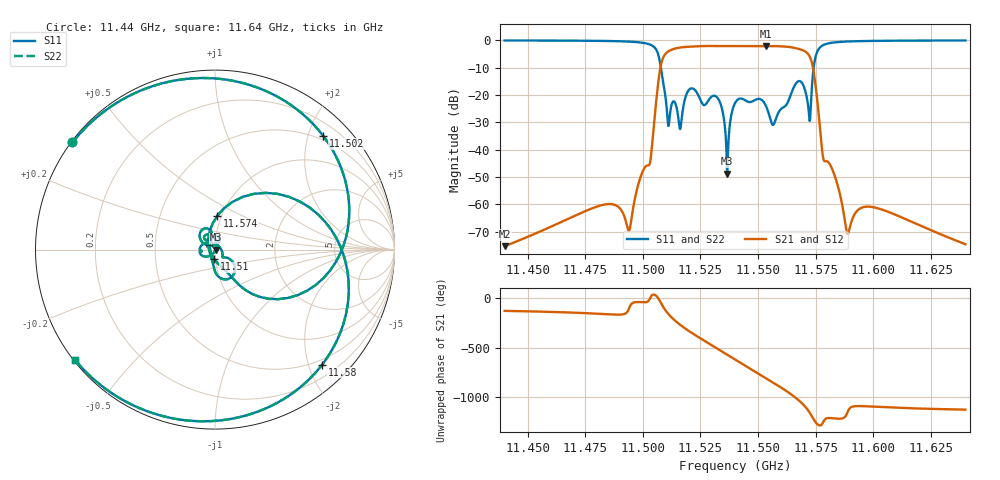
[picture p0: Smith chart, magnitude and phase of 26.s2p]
! This file was generated by CST Filter Designer 3D
! Date:  07.11.2025 16:01:26
# MHZ S RI R 50
!  Frequency  Re(S11)  Im(S11)  Re(S21)  Im(S21)  Re(S12)  Im(S12)  Re(S22)  Im(S22)
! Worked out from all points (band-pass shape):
!   1001 points, 11.44 GHz to 11.64 GHz, reference 50 ohm
!   highest |S21| = -2.08 dB at 11.553 GHz (marker M1); lowest = -75.4 dB at 11.44 GHz (marker M2)
!   |S21| within 3 dB of the highest: 11.51 GHz to 11.572 GHz (62.06 MHz wide, 0.538 % of centre)
!   lowest |S11| = -48.8 dB at 11.537 GHz (marker M3), VSWR 1.01, Z = 50.4 - j0.0962 ohm
!   |S11| at or under -10 dB: 11.508 GHz to 11.574 GHz (66.32 MHz wide, 0.575 % of centre)
!   |S22| runs from -48.8 to -0.1 dB; largest |S21 - S12| = 0
!   S11 on the Smith chart (normalised r, x): 11.44 GHz: 0.00, +0.33; 11.502 GHz: 0.42, +2.27; 11.51 GHz: 0.99, -0.11; 11.574 GHz: 0.96, +0.37; 11.58 GHz: 0.41, -2.24; 11.64 GHz: 0.00, -0.35
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11440  -0.7942 0.5967  -0.000107 -0.000133  -0.000107 -0.000133  -0.7942 0.5967
11473.4  -0.5175 0.8355  -0.000605 -0.000348  -0.000605 -0.000348  -0.5175 0.8355
11494  0.0918 0.942  -8.25e-05 -0.000316  -8.25e-05 -0.000316  0.0918 0.942
11501.6  0.6032 0.6331  0.00392 -0.0032  0.00392 -0.0032  0.6032 0.6331
11506.8  0.4627 -0.2529  0.1829 -0.0164  0.1829 -0.0164  0.4627 -0.2529
11510.4  -0.00336 -0.0538  -0.4679 -0.3709  -0.4679 -0.3709  -0.00336 -0.0538
11516  -0.00134 0.0246  -0.0459 0.7347  -0.0459 0.7347  -0.00134 0.0246
11522  -0.0507 0.1188  0.7692 -0.0459  0.7692 -0.0459  -0.0507 0.1188
11528.6  -0.057 0.0577  -0.1202 -0.7764  -0.1202 -0.7764  -0.057 0.0577
11536.6  0.00349 -0.000955  -0.6644 0.419  -0.6644 0.419  0.00349 -0.000955
11540  -0.0595 -0.0381  -0.1225 0.7738  -0.1225 0.7738  -0.0595 -0.0381
11546.8  -0.0737 -0.0091  0.7856 0.0278  0.7856 0.0278  -0.0737 -0.0091
11553.4  -0.0502 0.0386  -0.00968 -0.7867  -0.00968 -0.7867  -0.0502 0.0386
11559.4  0.0419 -0.0305  -0.7762 -0.0439  -0.7762 -0.0439  0.0419 -0.0305
11564.6  0.0931 -0.062  -0.1406 0.7291  -0.1406 0.7291  0.0931 -0.062
11569.4  0.0258 -0.1558  0.6526 0.0817  0.6526 0.0817  0.0258 -0.1558
11573.4  -0.0125 0.1465  -0.1848 -0.3367  -0.1848 -0.3367  -0.0125 0.1465
11573.6  0.0132 0.1889  -0.2128 -0.2825  -0.2128 -0.2825  0.0132 0.1889
11580.4  0.5975 -0.6402  -0.00418 -0.00421  -0.00418 -0.00421  0.5975 -0.6402
11588.8  0.0531 -0.9487  6.13e-05 -0.000281  6.13e-05 -0.000281  0.0531 -0.9487
11606.8  -0.4814 -0.8551  0.000638 -0.000328  0.000638 -0.000328  -0.4814 -0.8551
11640  -0.7809 -0.6134  0.00012 -0.000141  0.00012 -0.000141  -0.7809 -0.6134
